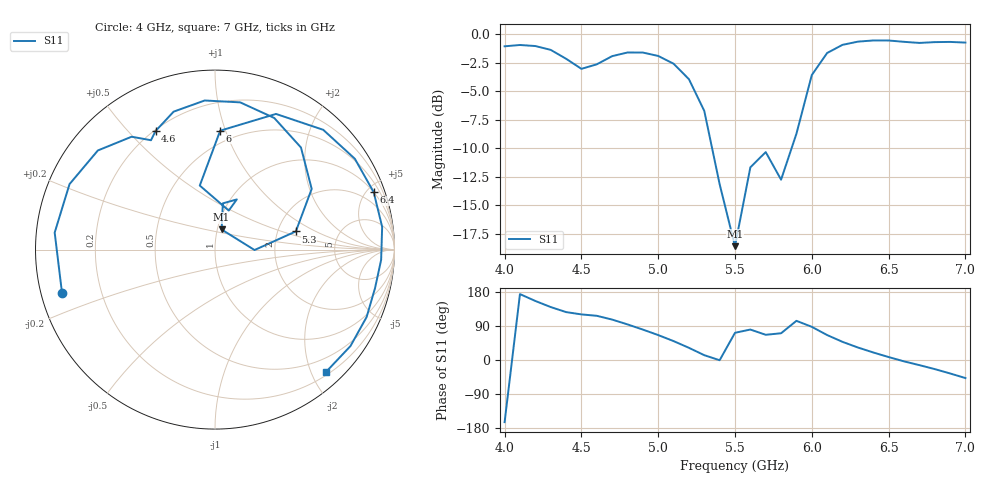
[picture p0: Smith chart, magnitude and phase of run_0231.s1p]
! Touchstone file exported from HFSS 2024.2.0
!  File:  C:/Users/wsak9/Desktop/Sim Fast/Widenad Patch/WP_AI_V1_sweep.aedt
!  Generated:  12:39:21 AM Oct 14, 2026
!  Design:  A1_model
!  Project:  WP_AI_V1_sweep
!  Setup:  Setup1
!  Solution:  Sweep
! Variables:
!  Air_gap = 1.92mm
!  Curve_Amp1 = 3.67
!  Curve_len1 = 1
!  Curve_pos = 11.585mm
!  Extra = 4.54mm
!  H_sub = 0.79mm
!  L_Patch = 19.17mm
!  L_Patch1 = 19.04mm
!  Sx = 0.59mm
!  Sy = 3.48mm
!  WS = 0.3mm
!  W_Patch = 15.01mm
!  W_Patch1 = 14.5mm
!Data is not renormalized
# GHz S MA
! Terminal data exported
! Port[1] = 1
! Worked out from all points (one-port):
!   31 points, 4 GHz to 7 GHz, reference per port
!   lowest |S11| = -18.6 dB at 5.5 GHz (marker M1), VSWR 1.27
!   |S11| at or under -10 dB: 5.351 GHz to 5.868 GHz (516.9 MHz wide, 9.21 % of centre)
!   S11 on the Smith chart (normalised r, x): 4 GHz: 0.06, -0.14; 4.6 GHz: 0.21, +0.60; 5.3 GHz: 2.52, +0.65; 6 GHz: 0.41, +0.96; 6.4 GHz: 1.00, +5.53; 7 GHz: 0.25, -2.24
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4  0.8863 -164.0
4.1  0.8982 173.9
4.2  0.8887 155.8
4.3  0.855 139.8
4.4  0.7819 126.5
4.5  0.706 120.3
4.6  0.7389 116.7
4.8  0.8327 93.9
4.9  0.8322 80.3
5  0.8042 65.8
5.1  0.7436 49.9
5.2  0.6361 32.1
5.3  0.4618 12.7
5.4  0.2204 -0.6
5.5  0.1179 71.8
5.6  0.2612 80.4
5.7  0.3047 66.5
5.8  0.2306 70.6
5.9  0.3668 103.4
6  0.6632 87.5
6.1  0.8287 65.8
6.2  0.8995 47.9
6.3  0.9291 33.0
6.4  0.9402 19.9
6.5  0.9399 7.8
6.7  0.9171 -13.5
6.9  0.9265 -35.5
7  0.9202 -47.7
